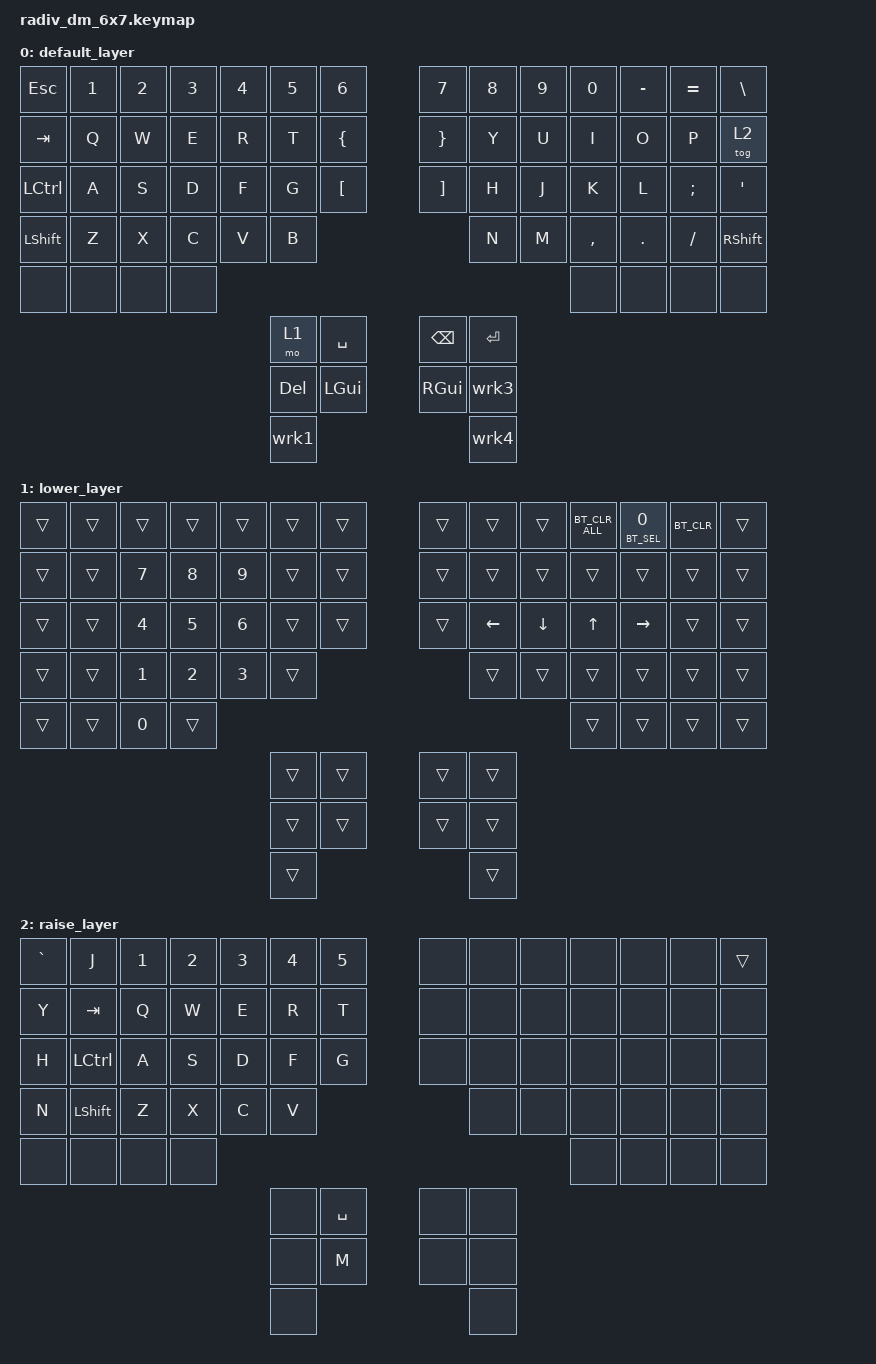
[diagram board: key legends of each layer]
#include <behaviors.dtsi>
#include <dt-bindings/zmk/keys.h>
#include <dt-bindings/zmk/bt.h>
#include <dt-bindings/zmk/outputs.h>

#define DEFAULT 0
#define LWR 1
#define RSE 2


/ {
    macros {
        // Omarchy Menu (super + shift + space)
        menu: menu {
            compatible = "zmk,behavior-macro";
            #binding-cells = <0>;
            bindings
                = <&macro_press &kp LGUI &kp LSHFT>
                , <&macro_tap &kp SPACE>
                , <&macro_release &kp LGUI &kp LSHFT>
                ;
        };

        // Omarchy App launcher (super + space)
        app: app {
            compatible = "zmk,behavior-macro";
            #binding-cells = <0>;
            bindings
                = <&macro_press &kp LGUI>
                , <&macro_tap &kp SPACE>
                , <&macro_release &kp LGUI>
                ;
        };

        // switch to Workspace 1 (super + 1)
        wrk1: wrk1 {
            compatible = "zmk,behavior-macro";
            #binding-cells = <0>;
            bindings
                = <&macro_press &kp LGUI>
                , <&macro_tap &kp N1>
                , <&macro_release &kp LGUI>
                ;
        };

        // switch to Workspace 2 (super + 2)
        wrk2: wrk2 {
            compatible = "zmk,behavior-macro";
            #binding-cells = <0>;
            bindings
                = <&macro_press &kp LGUI>
                , <&macro_tap &kp N2>
                , <&macro_release &kp LGUI>
                ;
        };

        // switch to Workspace 3 (super + 3)
        wrk3: wrk3 {
            compatible = "zmk,behavior-macro";
            #binding-cells = <0>;
            bindings
                = <&macro_press &kp LGUI>
                , <&macro_tap &kp N3>
                , <&macro_release &kp LGUI>
                ;
        };

        // switch to Workspace 4 (super + 4)
        wrk4: wrk4 {
            compatible = "zmk,behavior-macro";
            #binding-cells = <0>;
            bindings
                = <&macro_press &kp LGUI>
                , <&macro_tap &kp N4>
                , <&macro_release &kp LGUI>
                ;
        };

        // switch to next workspace (super + TAB)
        nxtwrk: nxtwrk { compatible = "zmk,behavior-macro";
            #binding-cells = <0>;
            bindings
                = <&macro_press &kp LGUI>
                , <&macro_tap &kp TAB>
                , <&macro_release &kp LGUI>
                ;
        };

        // switch to next workspace (super + shift + TAB)
        prvwrk: prvwrk {
            compatible = "zmk,behavior-macro";
            #binding-cells = <0>;
            bindings
                = <&macro_press &kp LGUI &kp LSHFT>
                , <&macro_tap &kp TAB>
                , <&macro_release &kp LGUI &kp LSHFT>
                ;
        };

        // Open files in omarchy (super + shift + F)
        openf: openf{
            compatible = "zmk,behavior-macro";
            #binding-cells = <0>;
            bindings
                = <&macro_press &kp LGUI &kp LSHFT>
                , <&macro_tap &kp F>
                , <&macro_release &kp LGUI &kp LSHFT>
                ;
        };
    };

    keymap {
        compatible = "zmk,keymap";

        default_layer {
            bindings = <
                &kp ESC   &kp N1  &kp N2  &kp N3 &kp N4 &kp N5 &kp N6                &kp N7   &kp N8  &kp N9 &kp N0    &kp MINUS &kp EQUAL &kp BSLH
                &kp TAB   &kp Q   &kp W   &kp E  &kp R  &kp T  &kp LBRC              &kp RBRC &kp Y   &kp U  &kp I     &kp O     &kp P     &tog 2
                &kp LCTRL &kp A   &kp S   &kp D  &kp F  &kp G  &kp LBKT              &kp RBKT &kp H   &kp J  &kp K     &kp L     &kp SEMI  &kp SQT
                &kp LSHFT &kp Z   &kp X   &kp C  &kp V  &kp B                                 &kp N   &kp M  &kp COMMA &kp DOT   &kp FSLH  &kp RSHFT
                &none     &none   &none   &none                                                              &none     &none     &none     &none
                                                         &mo 1   &kp SPACE           &kp BSPC &kp RET
                                                         &kp DEL &kp LGUI            &kp RGUI &wrk3
                                                         &wrk1                                &wrk4
            >;
        };

        lower_layer {
            bindings = <
                &trans  &trans &trans &trans &trans &trans &trans             &trans &trans   &trans   &BT_CLR_ALL &BT_SEL 0 &BT_CLR &trans
                &trans  &trans &kp N7 &kp N8 &kp N9 &trans &trans             &trans &trans   &trans   &trans      &trans    &trans  &trans
                &trans  &trans &kp N4 &kp N5 &kp N6 &trans &trans             &trans &kp LEFT &kp DOWN &kp UP      &kp RIGHT &trans  &trans
                &trans  &trans &kp N1 &kp N2 &kp N3 &trans                           &trans   &trans   &trans      &trans    &trans  &trans
                &trans  &trans &kp N0 &trans                                                           &trans      &trans    &trans  &trans
                                                    &trans &trans             &trans &trans
                                                    &trans &trans             &trans &trans
                                                    &trans                           &trans
            >;
        };

        raise_layer {
            bindings = <
                &kp GRAVE &kp J     &kp N1 &kp N2 &kp N3 &kp N4 &kp N5      &none &none &none &none &none &none &trans
                &kp Y     &kp TAB   &kp Q  &kp W  &kp E  &kp R  &kp T       &none &none &none &none &none &none &none
                &kp H     &kp LCTRL &kp A  &kp S  &kp D  &kp F  &kp G       &none &none &none &none &none &none &none
                &kp N     &kp LSHFT &kp Z  &kp X  &kp C  &kp V                    &none &none &none &none &none &none
                &none     &none     &none  &none                                              &none &none &none &none
                                                         &none  &kp SPACE   &none &none
                                                         &none  &kp M       &none &none
                                                         &none                    &none
            >;
        };

        
    };
};
